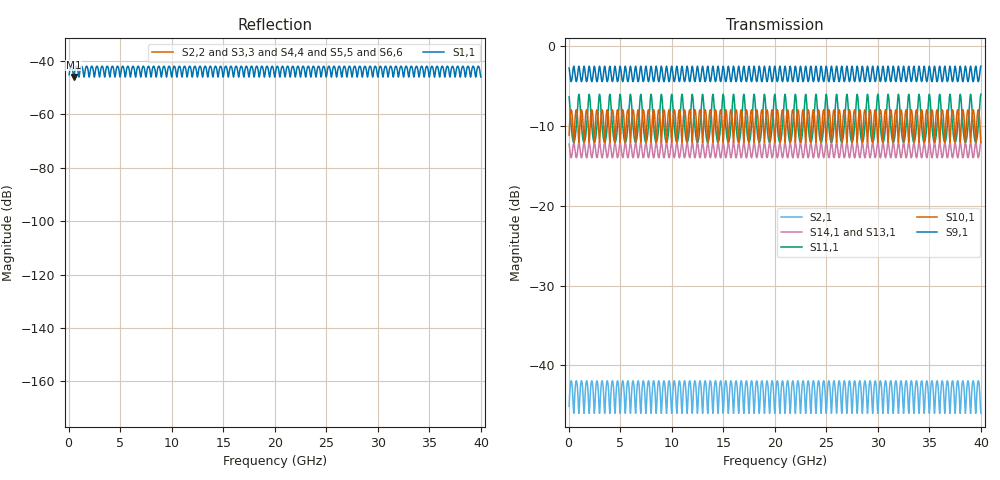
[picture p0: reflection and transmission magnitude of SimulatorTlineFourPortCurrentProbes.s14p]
# MHz MA S R 50.0
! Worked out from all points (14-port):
!   800 points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, 50 MHz to 40 GHz, reference 50 ohm
!   strongest paths, dB at 50 MHz, 10.05 GHz, 20.05 GHz, 30.05 GHz, 40 GHz:
!     S9,1: -2.7, -2.7, -2.7, -2.7, -2.5
!     S10,1: -11.2, -11.2, -11.2, -11.2, -12.0
!     S11,1: -6.3, -6.3, -6.3, -6.3, -6.0
!     S14,1: -12.3, -12.3, -12.3, -12.3, -12.0
!     S13,1: -12.3, -12.3, -12.3, -12.3, -12.0
!     S2,1: -45.2, -45.2, -45.2, -45.2, -46.0
!   lowest |S11| = -46.0 dB at 500 MHz (marker M1), VSWR 1.01, Z = 50.5 + j0 ohm
!   |S11| at or under -10 dB: start of sweep to end of sweep
